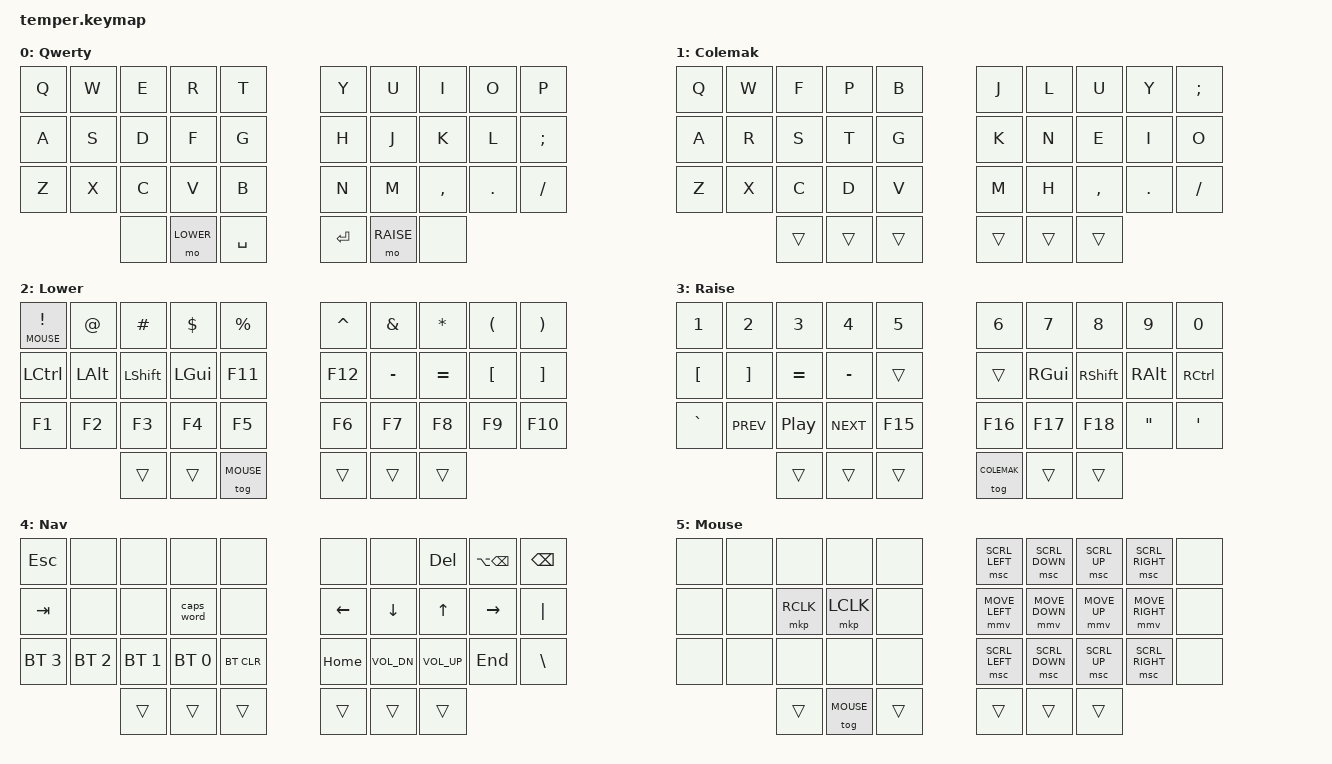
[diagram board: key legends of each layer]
/*
 * Copyright (c) 2020 duckyb
 *
 * SPDX-License-Identifier: MIT
 */

#define ZMK_POINTING_DEFAULT_MOVE_VAL 2500
#define ZMK_POINTING_DEFAULT_SCRL_VAL 30

#include <dt-bindings/zmk/mouse.h>
#include <behaviors.dtsi>
#include <dt-bindings/zmk/bt.h>
#include <dt-bindings/zmk/keys.h>
#include <dt-bindings/zmk/pointing.h>
#include <dt-bindings/zmk/outputs.h>
#include "keymap_italian.h"

// Layer definitions
#define QWERTY 0
#define COLEMAK 1
#define LOWER 2
#define RAISE 3
#define NAV 4
#define MOUSE 5

// &sk { quick-release; };

&lt {
    flavor = "balanced";
    tapping-term-ms = <150>;
};
/ {
    behaviors {
    };

    combos {
        compatible = "zmk,combos";
	combo_tab {
		bindings = <&kp TAB>;
		key-positions = <0 10>;
		timeout-ms = <25>;
	};
    };

    conditional_layers {
        compatible = "zmk,conditional-layers";
        tri_layer {
	    if-layers = <LOWER RAISE>;
	    then-layer = <NAV>;
        };
    };

    keymap {
        compatible = "zmk,keymap";

	qwerty {
                        label = "Qwerty";
                        bindings = <
                        &kp Q &kp W &kp E &kp R &kp T           &kp Y &kp U  &kp I     &kp O   &kp P
                        &kp A       &kp S &kp D &kp F &kp G           &kp H &kp J  &kp K     &kp L   &kp SEMI
                        &kp Z       &kp X &kp C &kp V &kp B           &kp N &kp M  &kp COMMA &kp DOT &kp FSLH
                                                &none            &mo LOWER &kp SPACE       &kp ENTER &mo RAISE &none
                        >;
                };

                colemak {
                        label = "Colemak";
                        bindings = <
                  &kp Q &kp W &kp F &kp P &kp B         &kp J  &kp L  &kp U      &kp Y    &kp SEMI
      &kp A   &kp R &kp S &kp T &kp G         &kp K  &kp N  &kp E      &kp I    &kp O
      &kp Z   &kp X &kp C &kp D &kp V         &kp M  &kp H  &kp COMMA  &kp DOT  &kp FSLH
                                                                                                        &trans &trans &trans         &trans &trans &trans
                        >;
                };

                lower {
                        label = "Lower";
                        bindings = <
                        &lt MOUSE EXCL  &kp AT   &kp HASH   &kp DLLR &kp PRCNT     &kp CARET     &kp AMPS   &kp STAR  &kp LPAR  &kp RPAR
                        &kp LCTRL &kp LALT &kp LSHFT  &kp LGUI &kp F11       &kp F12       &kp MINUS  &kp EQUAL &kp LBKT  &kp RBKT
      // &hrml LCTRL F1 &hrml LALT F2 &hrml LSHFT F3 &hrml LGUI F4 &kp F5        &kp F6    &kp UNDER &kp PLUS  &kp LBRC  &kp RBRC
      // &kp F1    &kp F2  &kp F3   &kp F4   &kp F5        &kp F6     &kp UNDER  &kp PLUS  &kp LBRC  &kp RBRC
      &kp F1    &kp F2   &kp F3     &kp F4   &kp F5        &kp F6        &kp F7     &kp F8    &kp F9    &kp F10
                                                                                                                &trans &trans &tog MOUSE        &trans        &trans &trans
                        >;
                };

                raise {
                        label = "Raise";
                        bindings = <
                  &kp N1     &kp N2      &kp N3    &kp N4      &kp N5       &kp N6  &kp N7    &kp N8     &kp N9    &kp N0
                        &kp LBKT   &kp RBKT    &kp EQUAL &kp MINUS   &trans       &trans  &kp RGUI  &kp RSHFT  &kp RALT  &kp RCTRL
      // &none   &kp C_PREV  &kp C_PP      &kp C_NEXT   &none      &none   &hrmr RGUI MINUS  &hrmr RSHFT EQUAL  &hrmr RALT LBKT  &hrmr RCTRL RBKT
      // &none   &kp C_PREV  &kp C_PP      &kp C_NEXT   &none      &none   &kp MINUS   &kp EQUAL  &kp LBKT  &kp RBKT
      &kp GRAVE  &kp C_PREV  &kp C_PP  &kp C_NEXT  &kp F15        &kp F16   &kp F17     &kp F18      &kp DQT   &kp SQT
                                                                                                   &trans &trans      &trans       &tog COLEMAK  &trans &trans
                        >;
                };

                nav {
                        label = "Nav";
                        bindings = <
                        &kp ESC      &none        &none        &none        &none           &none           &none           &kp DEL       &kp LA(BSPC)     &kp BSPC
      &kp TAB      &none        &none        &caps_word   &none           &kp LEFT_ARROW  &kp DOWN_ARROW  &kp UP_ARROW  &kp RIGHT_ARROW  &kp PIPE
      &bt BT_SEL 3 &bt BT_SEL 2 &bt BT_SEL 1 &bt BT_SEL 0 &bt BT_CLR      &kp HOME        &kp C_VOL_DN    &kp C_VOL_UP  &kp END          &kp BSLH
                                                                                                        &trans &trans &trans                                     &trans &trans &trans
                        >;
                };

                mouse {
                        label = "Mouse";
                        bindings = <
                        &none   &none   &none      &none      &none       &msc SCRL_LEFT  &msc SCRL_DOWN  &msc SCRL_UP  &msc SCRL_RIGHT  &none
      &none   &none   &mkp RCLK  &mkp LCLK  &none       &mmv MOVE_LEFT  &mmv MOVE_DOWN  &mmv MOVE_UP  &mmv MOVE_RIGHT  &none
      &none   &none   &none      &none      &none       &msc SCRL_LEFT  &msc SCRL_DOWN  &msc SCRL_UP  &msc SCRL_RIGHT  &none
                                                                                                        &trans &tog MOUSE &trans         &trans &trans &trans
                        >;
                };

    };
};
